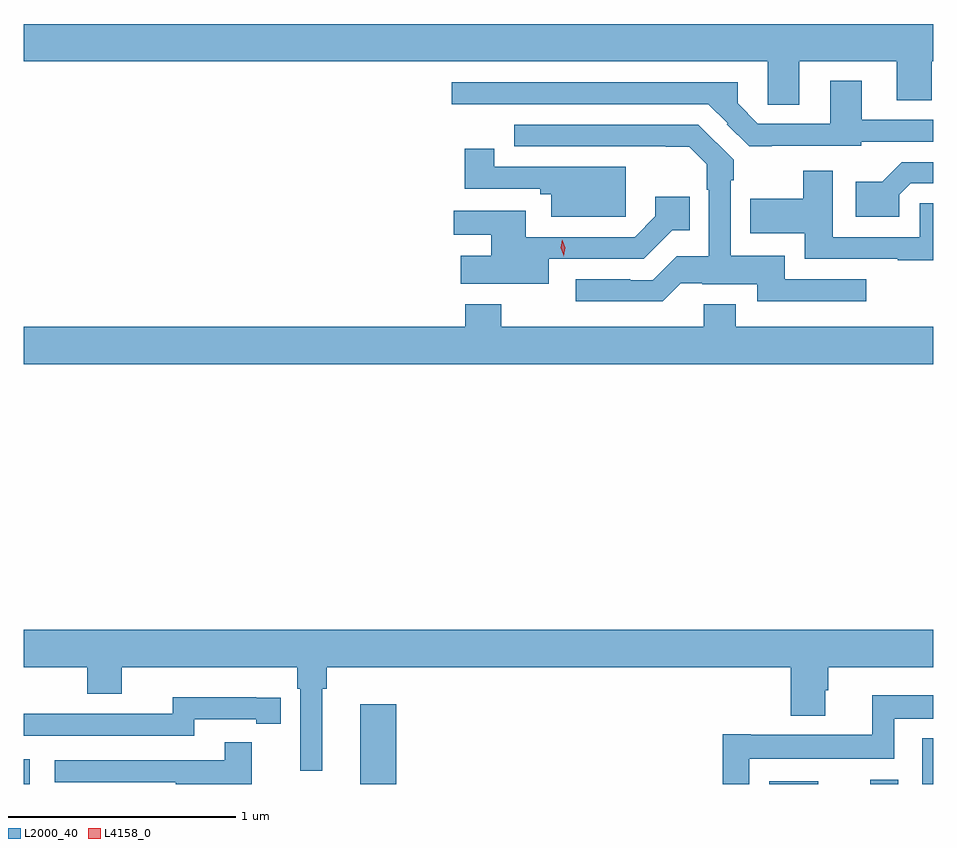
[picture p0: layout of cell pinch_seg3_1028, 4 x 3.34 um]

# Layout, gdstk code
import gdstk
lib = gdstk.Library(unit=1e-6, precision=1e-09)
def R(c, l, rs):  # rectangles x0, y0, x1, y1
    for r in rs: c.add(gdstk.rectangle(r[:2], r[2:], *l))
def P(c, l, *ps):  # polygons
    for p in ps: c.add(gdstk.Polygon(p, *l))
L2000_40 = (2000, 40)
L4158_0 = (4158, 0)

pinch_seg3_1028 = lib.new_cell('pinch_seg3_1028')
R(pinch_seg3_1028, L2000_40, [(588.545,681.754,588.571,681.862), (590.024,681.754,590.183,682.105), (591.824,681.754,592.039,681.766), (592.268,681.754,592.39,681.772), (592.497,681.754,592.545,681.955)])
P(pinch_seg3_1028, L2000_40, [(591.955,684.932),(592.385,684.932),(592.385,684.76),(592.538,684.76),(592.538,684.932),(592.545,684.932),(592.545,685.096),(588.545,685.096),(588.545,684.932),(591.816,684.932),(591.816,684.742),(591.955,684.742)],
  [(591.835,684.561),(592.227,684.561),(592.227,684.579),(592.545,684.579),(592.545,684.675),(592.231,684.675),(592.231,684.847),(592.091,684.847),(592.091,684.657),(591.774,684.657),(591.684,684.748),(591.684,684.84),(590.427,684.84),(590.427,684.744),(591.555,684.744),(591.64,684.659),(591.637,684.656),(591.735,684.559),(591.835,684.559)],
  [(591.435,683.955),(591.529,683.955),(591.529,683.951),(591.77,683.951),(591.77,683.877),(592.249,683.877),(592.249,683.973),(591.892,683.973),(591.892,684.076),(591.654,684.076),(591.654,684.41),(591.667,684.41),(591.667,684.499),(591.511,684.654),(590.703,684.654),(590.703,684.558),(591.368,684.558),(591.368,684.556),(591.472,684.556),(591.548,684.48),(591.548,684.368),(591.558,684.368),(591.558,684.075),(591.417,684.075),(591.312,683.97),(591.212,683.97),(591.212,683.973),(590.973,683.973),(590.973,683.876),(591.356,683.876)],
  [(591.193,684.469),(590.917,684.469),(590.917,684.468),(590.614,684.468),(590.614,684.547),(590.484,684.547),(590.484,684.372),(590.817,684.372),(590.817,684.347),(590.864,684.347),(590.864,684.248),(591.193,684.248)],
  [(592.395,684.345),(592.446,684.396),(592.545,684.396),(592.545,684.489),(592.406,684.489),(592.32,684.403),(592.203,684.403),(592.203,684.248),(592.395,684.248)],
  [(592.545,684.308),(592.485,684.308),(592.485,684.159),(592.102,684.159),(592.102,684.451),(591.973,684.451),(591.973,684.328),(591.739,684.328),(591.739,684.176),(591.98,684.176),(591.98,684.063),(592.388,684.063),(592.388,684.058),(592.545,684.058)],
  [(590.854,684.063),(591.271,684.063),(591.396,684.188),(591.473,684.188),(591.473,684.337),(591.323,684.337),(591.323,684.251),(591.231,684.159),(590.752,684.159),(590.752,684.274),(590.436,684.274),(590.436,684.17),(590.6,684.17),(590.6,684.076),(590.466,684.076),(590.466,683.954),(590.854,683.954)],
  [(592.545,683.764),(591.676,683.764),(591.676,683.863),(591.536,683.863),(591.536,683.764),(590.646,683.764),(590.646,683.863),(590.486,683.863),(590.486,683.764),(588.545,683.764),(588.545,683.6),(592.545,683.6)],
  [(589.858,682.172),(589.877,682.172),(589.877,682.268),(591.917,682.268),(591.917,682.055),(592.069,682.055),(592.069,682.167),(592.082,682.167),(592.082,682.268),(592.545,682.268),(592.545,682.432),(588.545,682.432),(588.545,682.268),(588.824,682.268),(588.824,682.151),(588.976,682.151),(588.976,682.268),(589.748,682.268),(589.748,682.172),(589.761,682.172),(589.761,681.813),(589.858,681.813)],
  [(591.735,681.866),(592.374,681.866),(592.374,682.04),(592.545,682.04),(592.545,682.144),(592.277,682.144),(592.277,681.97),(591.742,681.97),(591.742,681.973),(591.619,681.973),(591.619,681.754),(591.735,681.754)],
  [(589.296,682.038),(589.568,682.038),(589.568,682.018),(589.676,682.018),(589.676,682.134),(589.568,682.134),(589.568,682.135),(589.2,682.135),(589.2,682.062),(588.74,682.062),(588.74,682.064),(588.545,682.064),(588.545,681.966),(589.296,681.966)],
  [(589.547,681.937),(589.429,681.937),(589.429,681.858),(588.681,681.858),(588.681,681.762),(589.213,681.762),(589.213,681.754),(589.547,681.754)])
P(pinch_seg3_1028, L4158_0, [(590.919,684.075),(590.919,684.076),(590.906,684.111),(590.914,684.148),(590.914,684.148),(590.914,684.148),(590.926,684.112),(590.919,684.076)])

lib.write_gds('pinch_seg3_1028.gds')
